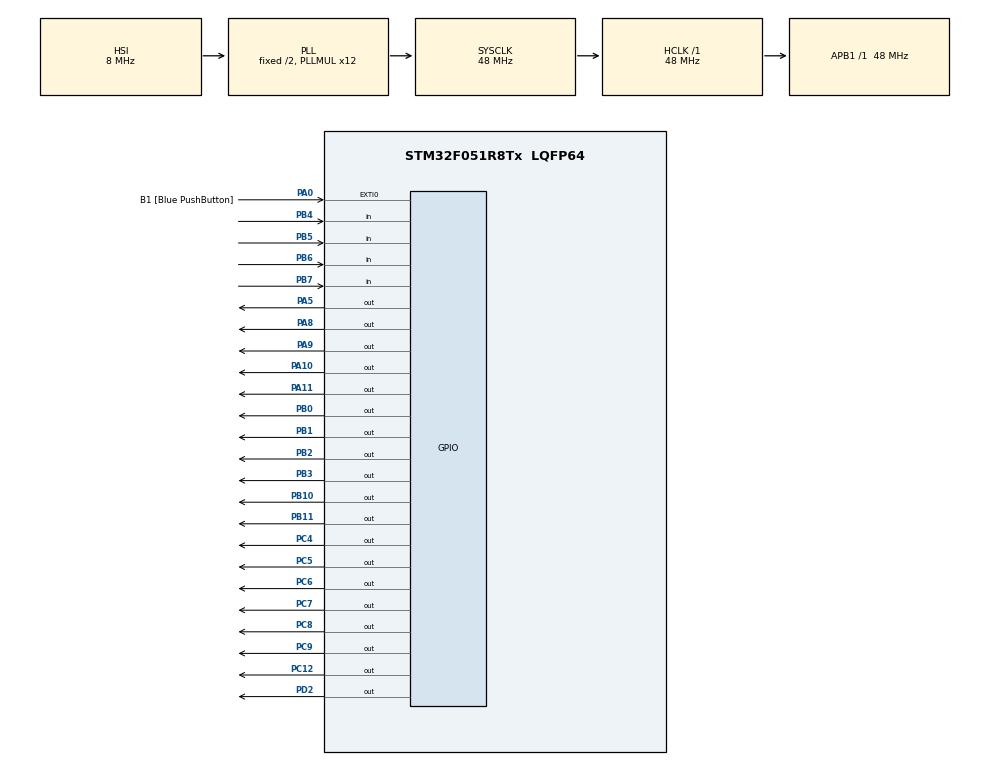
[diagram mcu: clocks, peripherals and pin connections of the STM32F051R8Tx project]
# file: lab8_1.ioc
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Mcu.Family=STM32F0
Mcu.Name=STM32F051R8Tx
Mcu.Package=LQFP64
NVIC.TIM1_BRK_UP_TRG_COM_IRQn=true\:0\:0\:false\:false\:true\:true
PA0.GPIO_Label=B1 [Blue PushButton]
PA0.GPIO_ModeDefaultEXTI=GPIO_MODE_EVT_RISING
PA0.Signal=GPXTI0
PA10.Signal=GPIO_Output
PA11.Signal=GPIO_Output
PA13.GPIO_Label=SWDIO
PA13.Mode=Serial_Wire
PA13.Signal=SYS_SWDIO
PA14.GPIO_Label=SWCLK
PA14.Mode=Serial_Wire
PA14.Signal=SYS_SWCLK
PA5.Signal=GPIO_Output
PA8.Signal=GPIO_Output
PA9.Signal=GPIO_Output
PB0.Signal=GPIO_Output
PB1.Signal=GPIO_Output
PB10.Signal=GPIO_Output
PB11.Signal=GPIO_Output
PB2.Signal=GPIO_Output
PB3.Signal=GPIO_Output
PB4.Signal=GPIO_Input
PB5.Signal=GPIO_Input
PB6.Signal=GPIO_Input
PB7.Signal=GPIO_Input
PC12.Signal=GPIO_Output
PC4.Signal=GPIO_Output
PC5.Signal=GPIO_Output
PC6.Signal=GPIO_Output
PC7.Signal=GPIO_Output
PC8.Signal=GPIO_Output
PC9.Signal=GPIO_Output
PD2.Signal=GPIO_Output
ProjectManager.HeapSize=0x200
ProjectManager.StackSize=0x400
ProjectManager.TargetToolchain=SW4STM32
RCC.AHBFreq_Value=48000000
RCC.APB1Freq_Value=48000000
RCC.APB1TimFreq_Value=48000000
RCC.HCLKFreq_Value=48000000
RCC.PLLMUL=RCC_PLL_MUL12
RCC.SYSCLKFreq_VALUE=48000000
RCC.SYSCLKSource=RCC_SYSCLKSOURCE_PLLCLK
TIM1.Period=19
TIM1.Prescaler=47999
TIM1.TIM_MasterOutputTrigger=TIM_TRGO_UPDATE
VP_TIM1_VS_ClockSourceINT.Mode=Internal
board=STM32F0DISCOVERY

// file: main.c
/**
  ******************************************************************************
  * @file           : main.c
  * @brief          : Main program body
  ******************************************************************************
  ** This notice applies to any and all portions of this file
  * that are not between comment pairs USER CODE BEGIN and
  * USER CODE END. Other portions of this file, whether
  * inserted by the user or by software development tools
  * are owned by their respective copyright owners.
  *
  * COPYRIGHT(c) 2018 STMicroelectronics
  *
  * Redistribution and use in source and binary forms, with or without modification,
  * are permitted provided that the following conditions are met:
  *   1. Redistributions of source code must retain the above copyright notice,
  *      this list of conditions and the following disclaimer.
  *   2. Redistributions in binary form must reproduce the above copyright notice,
  *      this list of conditions and the following disclaimer in the documentation
  *      and/or other materials provided with the distribution.
  *   3. Neither the name of STMicroelectronics nor the names of its contributors
  *      may be used to endorse or promote products derived from this software
  *      without specific prior written permission.
  *
  * THIS SOFTWARE IS PROVIDED BY THE COPYRIGHT HOLDERS AND CONTRIBUTORS "AS IS"
  * AND ANY EXPRESS OR IMPLIED WARRANTIES, INCLUDING, BUT NOT LIMITED TO, THE
  * IMPLIED WARRANTIES OF MERCHANTABILITY AND FITNESS FOR A PARTICULAR PURPOSE ARE
  * DISCLAIMED. IN NO EVENT SHALL THE COPYRIGHT HOLDER OR CONTRIBUTORS BE LIABLE
  * FOR ANY DIRECT, INDIRECT, INCIDENTAL, SPECIAL, EXEMPLARY, OR CONSEQUENTIAL
  * DAMAGES (INCLUDING, BUT NOT LIMITED TO, PROCUREMENT OF SUBSTITUTE GOODS OR
  * SERVICES; LOSS OF USE, DATA, OR PROFITS; OR BUSINESS INTERRUPTION) HOWEVER
  * CAUSED AND ON ANY THEORY OF LIABILITY, WHETHER IN CONTRACT, STRICT LIABILITY,
  * OR TORT (INCLUDING NEGLIGENCE OR OTHERWISE) ARISING IN ANY WAY OUT OF THE USE
  * OF THIS SOFTWARE, EVEN IF ADVISED OF THE POSSIBILITY OF SUCH DAMAGE.
  *
  ******************************************************************************
  */
#include "main.h"
#include "stm32f0xx_hal.h"
#include "tim.h"
#include "gpio.h"

/* USER CODE BEGIN PV */
/* Private variables ---------------------------------------------------------*/
volatile int count = 0;
volatile int buttonPress = 0;
volatile int buttonFlag = 0;
volatile int buttonPressb1 = 0;
volatile int buttonFlagb1 = 0;
volatile int buttonPrevb1 = 0;
volatile int buttonCurrentb1 = 0;
volatile int buttonPrev[12];
volatile int buttonCurrent[12];
volatile int digit1 = 0;
volatile int digit10 = 0;
volatile int colLoop = 0;
volatile int sum = 0;
volatile int digit1prev = 0;
volatile int digit10prev = 0;
static TIM_HandleTypeDef s_TimerInstance = {
		.Instance = TIM1
};
/* USER CODE END PV */

void SystemClock_Config(void);

/* USER CODE BEGIN PFP */
/* Private function prototypes -----------------------------------------------*/

/* USER CODE END PFP */

int main(void)
{

  /* MCU Configuration----------------------------------------------------------*/

  /* Reset of all peripherals, Initializes the Flash interface and the Systick. */
  HAL_Init();

  /* Configure the system clock */
  SystemClock_Config();

  /* USER CODE BEGIN SysInit */
	HAL_TIM_Base_MspInit(&s_TimerInstance);
  /* USER CODE END SysInit */

  /* Initialize all configured peripherals */
  MX_GPIO_Init();
  MX_TIM1_Init();
  /* USER CODE BEGIN 2 */
	HAL_TIM_Base_Start_IT(&s_TimerInstance);
	reset_num();
  /* USER CODE END 2 */

  /* Infinite loop */
	while (1){

	}

}

void SystemClock_Config(void)
{

  RCC_OscInitTypeDef RCC_OscInitStruct;
  RCC_ClkInitTypeDef RCC_ClkInitStruct;

    /**Initializes the CPU, AHB and APB busses clocks
    */
  RCC_OscInitStruct.OscillatorType = RCC_OSCILLATORTYPE_HSI;
  RCC_OscInitStruct.HSIState = RCC_HSI_ON;
  RCC_OscInitStruct.HSICalibrationValue = 16;
  RCC_OscInitStruct.PLL.PLLState = RCC_PLL_ON;
  RCC_OscInitStruct.PLL.PLLSource = RCC_PLLSOURCE_HSI;
  RCC_OscInitStruct.PLL.PLLMUL = RCC_PLL_MUL12;
  RCC_OscInitStruct.PLL.PREDIV = RCC_PREDIV_DIV1;
  if (HAL_RCC_OscConfig(&RCC_OscInitStruct) != HAL_OK)
  {
    _Error_Handler(__FILE__, __LINE__);
  }

    /**Initializes the CPU, AHB and APB busses clocks
    */
  RCC_ClkInitStruct.ClockType = RCC_CLOCKTYPE_HCLK|RCC_CLOCKTYPE_SYSCLK
                              |RCC_CLOCKTYPE_PCLK1;
  RCC_ClkInitStruct.SYSCLKSource = RCC_SYSCLKSOURCE_PLLCLK;
  RCC_ClkInitStruct.AHBCLKDivider = RCC_SYSCLK_DIV1;
  RCC_ClkInitStruct.APB1CLKDivider = RCC_HCLK_DIV1;

  if (HAL_RCC_ClockConfig(&RCC_ClkInitStruct, FLASH_LATENCY_1) != HAL_OK)
  {
    _Error_Handler(__FILE__, __LINE__);
  }

    /**Configure the Systick interrupt time
    */
  HAL_SYSTICK_Config(HAL_RCC_GetHCLKFreq()/1000);

    /**Configure the Systick
    */
  HAL_SYSTICK_CLKSourceConfig(SYSTICK_CLKSOURCE_HCLK);

  /* SysTick_IRQn interrupt configuration */
  HAL_NVIC_SetPriority(SysTick_IRQn, 0, 0);
}

/* USER CODE BEGIN 4 */
writeDigit(int digit, int pos) {
	if(pos == 1) {
		write1(digit);
	}
	else if(pos == 10) {
		write10(digit);
	}
}
void write1(int digit) {
	HAL_GPIO_WritePin(GPIOA, 0x0F00, GPIO_PIN_RESET);
	HAL_GPIO_WritePin(GPIOC, 0x0380, GPIO_PIN_RESET);
	switch(digit) {
	case 0:
		HAL_GPIO_WritePin(GPIOA, 0x0F00, GPIO_PIN_SET);
		HAL_GPIO_WritePin(GPIOC, 0x0300, GPIO_PIN_SET);
		break;
	case 1:
		HAL_GPIO_WritePin(GPIOA,0x0600, GPIO_PIN_SET);
		break;
	case 2:
		HAL_GPIO_WritePin(GPIOA, 0x0D00, GPIO_PIN_SET);
		HAL_GPIO_WritePin(GPIOC, 0x0280, GPIO_PIN_SET);
		break;
	case 3:
		HAL_GPIO_WritePin(GPIOA, 0x0F00, GPIO_PIN_SET);
		HAL_GPIO_WritePin(GPIOC, 0x0080, GPIO_PIN_SET);
		break;
	case 4:
		HAL_GPIO_WritePin(GPIOA, 0x0600, GPIO_PIN_SET);
		HAL_GPIO_WritePin(GPIOC, 0x0180, GPIO_PIN_SET);
		break;
	case 5:
		HAL_GPIO_WritePin(GPIOA, 0x0B00, GPIO_PIN_SET);
		HAL_GPIO_WritePin(GPIOC, 0x0180, GPIO_PIN_SET);
		break;
	case 6:
		HAL_GPIO_WritePin(GPIOA, 0x0B00, GPIO_PIN_SET);
		HAL_GPIO_WritePin(GPIOC, 0x0380, GPIO_PIN_SET);
		break;
	case 7:
		HAL_GPIO_WritePin(GPIOA, 0x0E00, GPIO_PIN_SET);
		break;
	case 8:
		HAL_GPIO_WritePin(GPIOA, 0x0F00, GPIO_PIN_SET);
		HAL_GPIO_WritePin(GPIOC, 0x0380, GPIO_PIN_SET);
		break;
	case 9:
		HAL_GPIO_WritePin(GPIOA, 0x0E00, GPIO_PIN_SET);
		HAL_GPIO_WritePin(GPIOC, 0x0180, GPIO_PIN_SET);
		break;
	}
}

void write10(int digit) {
	HAL_GPIO_WritePin(GPIOB, 0x0C07, GPIO_PIN_RESET);
	HAL_GPIO_WritePin(GPIOC, 0x0030, GPIO_PIN_RESET);
	switch(digit) {
	case 0:
		HAL_GPIO_WritePin(GPIOB, 0x0C07, GPIO_PIN_SET);
		HAL_GPIO_WritePin(GPIOC, 0x0020, GPIO_PIN_SET);
		break;
	case 1:
		HAL_GPIO_WritePin(GPIOB, 0x0404, GPIO_PIN_SET);
		break;
	case 2:
		HAL_GPIO_WritePin(GPIOB, 0x0C03, GPIO_PIN_SET);
		HAL_GPIO_WritePin(GPIOC, 0x0010, GPIO_PIN_SET);
		break;
	case 3:
		HAL_GPIO_WritePin(GPIOB, 0x0C06, GPIO_PIN_SET);
		HAL_GPIO_WritePin(GPIOC, 0x0010, GPIO_PIN_SET);
		break;
	case 4:
		HAL_GPIO_WritePin(GPIOB, 0x0404, GPIO_PIN_SET);
		HAL_GPIO_WritePin(GPIOC, 0x0030, GPIO_PIN_SET);
		break;
	case 5:
		HAL_GPIO_WritePin(GPIOB, 0x0806, GPIO_PIN_SET);
		HAL_GPIO_WritePin(GPIOC, 0x0030, GPIO_PIN_SET);
		break;
	case 6:
		HAL_GPIO_WritePin(GPIOB, 0x0807, GPIO_PIN_SET);
		HAL_GPIO_WritePin(GPIOC, 0x0030, GPIO_PIN_SET);
		break;
	case 7:
		HAL_GPIO_WritePin(GPIOB, 0x0C04, GPIO_PIN_SET);
		break;
	case 8:
		HAL_GPIO_WritePin(GPIOB, 0x0C07, GPIO_PIN_SET);
		HAL_GPIO_WritePin(GPIOC, 0x0030, GPIO_PIN_SET);
		break;
	case 9:
		HAL_GPIO_WritePin(GPIOB, 0x0C04, GPIO_PIN_SET);
		HAL_GPIO_WritePin(GPIOC, 0x0030, GPIO_PIN_SET);;
		break;
	}
}

void matrixDebounce(int col) {
	colLoop++;
	switch (col) {
	case 0:
		HAL_GPIO_WritePin(GPIOB, GPIO_PIN_3, GPIO_PIN_RESET);
		HAL_GPIO_WritePin(GPIOD, GPIO_PIN_2, GPIO_PIN_SET);
		HAL_GPIO_WritePin(GPIOC, GPIO_PIN_12, GPIO_PIN_SET);
		btnDebounce(0);
		btnDebounce(3);
		btnDebounce(6);
		btnDebounce(9);
		break;
	case 1:
		HAL_GPIO_WritePin(GPIOB, GPIO_PIN_3, GPIO_PIN_SET);
		HAL_GPIO_WritePin(GPIOD, GPIO_PIN_2, GPIO_PIN_RESET);
		HAL_GPIO_WritePin(GPIOC, GPIO_PIN_12, GPIO_PIN_SET);
		btnDebounce(1);
		btnDebounce(4);
		btnDebounce(7);
		btnDebounce(10);
		break;
	case 2:
		HAL_GPIO_WritePin(GPIOB, GPIO_PIN_3, GPIO_PIN_SET);
		HAL_GPIO_WritePin(GPIOD, GPIO_PIN_2, GPIO_PIN_SET);
		HAL_GPIO_WritePin(GPIOC, GPIO_PIN_12, GPIO_PIN_RESET);
		btnDebounce(2);
		btnDebounce(5);
		btnDebounce(8);
		btnDebounce(11);
		break;
	}
}

btnDebounce(int row){
	buttonPrev[row] = buttonCurrent[row];
	if (row == 0 | row == 1 | row == 2) {
		buttonCurrent[row] = HAL_GPIO_ReadPin (GPIOB, GPIO_PIN_7);
	}
	else if(row == 3 | row == 4 | row == 5) {
		buttonCurrent[row] = HAL_GPIO_ReadPin (GPIOB, GPIO_PIN_6);
	}
	else if(row == 6 | row == 7 | row == 8) {
		buttonCurrent[row] = HAL_GPIO_ReadPin (GPIOB, GPIO_PIN_5);
	}
	else if(row == 9 | row == 10 | row == 11) {
		buttonCurrent[row] = HAL_GPIO_ReadPin (GPIOB, GPIO_PIN_4);
	}
	if((buttonCurrent[row] == 0) && (buttonPrev[row] ==1)) {
		buttonFlag = 1;
		digit1prev = digit1;
		digit1 = row+1;
	}
}
extern void TIM2_IRQHandler()
{
	HAL_TIM_IRQHandler(&s_TimerInstance);
}

void HAL_TIM_PeriodElapsedCallback(TIM_HandleTypeDef *htim)
{
	/*(write1(count);
	write10(count);
	count++;
	if(count == 10) {
		count = 0;
	} */
	if(colLoop > 2) {
		colLoop = 0;
	}
	matrixDebounce(colLoop);
	scrollCheck();

}

void reset_num() {
	digit1 = 0;
	digit10 = 0;
	sum = 0;
	write1(0);
	write10(0);
}

void buttonHandler() {
	if(buttonFlag == 1) {
				buttonFlag = 0;

				if(digit1 == 11) {
					digit1 = 0;
					digit10 = digit1prev;
				}
				else if(digit1 == 10) {
					summer();
				}
				else if(digit1 == 12) {
					reset_num();
				}
				else {
					digit10 = digit1prev;
				}

				writeDigit(digit1, 1);
				writeDigit(digit10, 10);

			}
}

int digitVal () {
	int value = digit1prev + digit10*10;
	return value;
}

void summer() {
	sum = sum + digitVal();
	digit1 = sum%10;
	digit1prev = digit1;
	int temp = sum/10;
	digit10 = temp%10;
}

void scrollCheck() {
	buttonPrevb1 = buttonCurrentb1;
			buttonCurrentb1 = HAL_GPIO_ReadPin(GPIOA, GPIO_PIN_0);
			if((buttonCurrentb1 == 0) && (buttonPrevb1 ==1)) {
				buttonFlagb1 = 1;
			}
}
/* USER CODE END 4 */

void _Error_Handler(char *file, int line)
{
	while(1)
	{
	}
}

/************************ (C) COPYRIGHT STMicroelectronics *****END OF FILE****/
